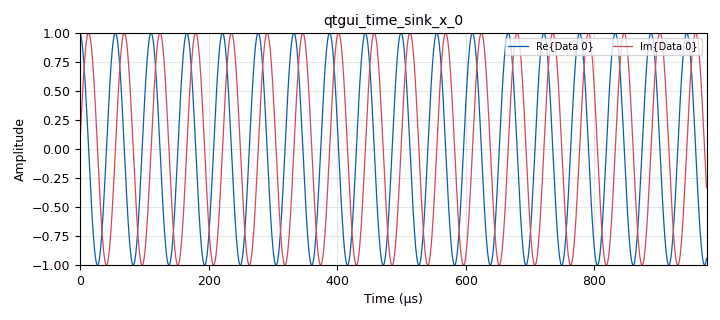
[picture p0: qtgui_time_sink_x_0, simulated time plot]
options:
  parameters:
    author: Ben Cometto
    description: Turns on and off the fan in the classroom
    generate_options: qt_gui
    id: fan_toggle
    output_language: python
    title: Fan Toggle
  states: {}

blocks:
- name: f_carrier
  id: variable
  parameters:
    value: '350000'
  states: {}
- name: f_data
  id: variable
  parameters:
    value: '18000'
  states: {}
- name: samp_rate
  id: variable
  parameters:
    value: f_carrier*3
  states: {}
- name: toggle
  id: variable_qtgui_range
  parameters:
    start: '0'
    step: '1'
    stop: '1'
    value: '0'
    widget: slider
  states: {}
- name: analog_sig_source_x_0
  id: analog_sig_source_x
  parameters:
    amp: '1'
    freq: f_carrier
    offset: '0'
    phase: '0'
    samp_rate: samp_rate
    type: complex
    waveform: analog.GR_COS_WAVE
  states: {state: disabled}
- name: analog_sig_source_x_1
  id: analog_sig_source_x
  parameters:
    amp: '1'
    freq: f_data
    offset: '0'
    phase: '0'
    samp_rate: samp_rate
    type: complex
    waveform: analog.GR_COS_WAVE
  states: {}
- name: blocks_repeat_0
  id: blocks_repeat
  parameters:
    interp: int(samp_rate*9)
    type: byte
  states: {}
- name: blocks_throttle2_0
  id: blocks_throttle2
  parameters:
    samples_per_second: samp_rate
    type: complex
  states: {}
- name: blocks_uchar_to_float_0
  id: blocks_uchar_to_float
  parameters: {}
  states: {}
- name: blocks_unpack_k_bits_bb_0
  id: blocks_unpack_k_bits_bb
  parameters:
    k: '3'
  states: {}
- name: blocks_vector_source_x_0
  id: blocks_vector_source_x
  parameters:
    repeat: 'True'
    type: byte
    vector: (0, 1)
  states: {}
- name: digital_map_bb_0
  id: digital_map_bb
  parameters:
    map: '[3, 1]'
  states: {}
- name: qtgui_time_sink_x_0
  id: qtgui_time_sink_x
  parameters:
    size: '1024'
    srate: samp_rate
    type: complex
  states: {}
- name: qtgui_time_sink_x_0_0
  id: qtgui_time_sink_x
  parameters:
    ctrlpanel: 'True'
    size: samp_rate*9
    srate: samp_rate
    type: float
  states: {}

connections:
- [analog_sig_source_x_1, '0', blocks_throttle2_0, '0']
- [blocks_repeat_0, '0', blocks_uchar_to_float_0, '0']
- [blocks_throttle2_0, '0', qtgui_time_sink_x_0, '0']
- [blocks_uchar_to_float_0, '0', qtgui_time_sink_x_0_0, '0']
- [blocks_unpack_k_bits_bb_0, '0', blocks_repeat_0, '0']
- [blocks_vector_source_x_0, '0', digital_map_bb_0, '0']
- [digital_map_bb_0, '0', blocks_unpack_k_bits_bb_0, '0']

metadata:
  file_format: 1
  grc_version: 3.10.10.0
